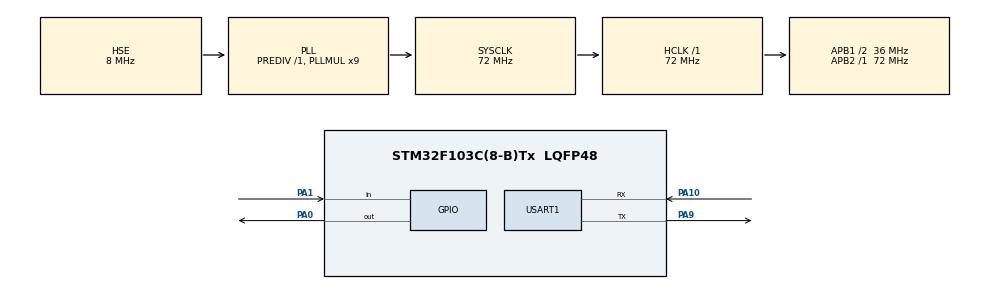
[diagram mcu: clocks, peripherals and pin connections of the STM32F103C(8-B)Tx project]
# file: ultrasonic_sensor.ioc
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Mcu.Family=STM32F1
Mcu.Name=STM32F103C(8-B)Tx
Mcu.Package=LQFP48
NVIC.PriorityGroup=NVIC_PRIORITYGROUP_4
PA0-WKUP.Signal=GPIO_Output
PA1.Signal=GPIO_Input
PA10.Mode=Asynchronous
PA10.Signal=USART1_RX
PA9.Mode=Asynchronous
PA9.Signal=USART1_TX
PD0-OSC_IN.Mode=HSE-External-Oscillator
PD0-OSC_IN.Signal=RCC_OSC_IN
PD1-OSC_OUT.Mode=HSE-External-Oscillator
PD1-OSC_OUT.Signal=RCC_OSC_OUT
ProjectManager.HeapSize=0x200
ProjectManager.StackSize=0x400
ProjectManager.TargetToolchain=STM32CubeIDE
RCC.AHBFreq_Value=72000000
RCC.APB1CLKDivider=RCC_HCLK_DIV2
RCC.APB1Freq_Value=36000000
RCC.APB1TimFreq_Value=72000000
RCC.APB2Freq_Value=72000000
RCC.APB2TimFreq_Value=72000000
RCC.HCLKFreq_Value=72000000
RCC.PLLMUL=RCC_PLL_MUL9
RCC.PLLSourceVirtual=RCC_PLLSOURCE_HSE
RCC.SYSCLKFreq_VALUE=72000000
RCC.SYSCLKSource=RCC_SYSCLKSOURCE_PLLCLK
RCC.USBFreq_Value=72000000
TIM2.Prescaler=71
USART1.VirtualMode=VM_ASYNC
VP_SYS_VS_ND.Mode=No_Debug
VP_TIM2_VS_ClockSourceINT.Mode=Internal
board=custom

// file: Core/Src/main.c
/* USER CODE BEGIN Header */
/**
  ******************************************************************************
  * @file           : main.c
  * @brief          : Main program body
  ******************************************************************************
  * @attention
  *
  * Copyright (c) 2026 STMicroelectronics.
  * All rights reserved.
  *
  * This software is licensed under terms that can be found in the LICENSE file
  * in the root directory of this software component.
  * If no LICENSE file comes with this software, it is provided AS-IS.
  *
  ******************************************************************************
  */
/* USER CODE END Header */
#include "main.h"

//#include "uart.h"
#include <stdio.h>

TIM_HandleTypeDef htim2;

UART_HandleTypeDef huart1;

int __io_putchar(int ch)
{
    HAL_UART_Transmit(&huart1, (uint8_t *)&ch, 1, HAL_MAX_DELAY);
    return ch;
}

TIM_HandleTypeDef htim2;

UART_HandleTypeDef huart1;

/* USER CODE BEGIN PV */

uint32_t distance = 0;
uint32_t time = 0;

void delay_us(uint16_t us)
{
    __HAL_TIM_SET_COUNTER(&htim2, 0);

    while (__HAL_TIM_GET_COUNTER(&htim2) < us);
}

float ultrasonic_read(void)
{
    uint32_t start = 0;
    uint32_t stop = 0;
    uint32_t time = 0;
    float distance = 0;

    HAL_GPIO_WritePin(GPIOA, GPIO_PIN_0, GPIO_PIN_RESET);
    delay_us(2);

    HAL_GPIO_WritePin(GPIOA, GPIO_PIN_0, GPIO_PIN_SET);
    delay_us(10);

    HAL_GPIO_WritePin(GPIOA, GPIO_PIN_0, GPIO_PIN_RESET);

    while(!(HAL_GPIO_ReadPin(GPIOA, GPIO_PIN_1)));

    start = __HAL_TIM_GET_COUNTER(&htim2);

    while(HAL_GPIO_ReadPin(GPIOA, GPIO_PIN_1));

    stop = __HAL_TIM_GET_COUNTER(&htim2);

    time = stop - start;

    distance = (time * 0.0343f) / 2.0f;

    return distance;
}

/* USER CODE END PV */

void SystemClock_Config(void);
static void MX_GPIO_Init(void);
static void MX_TIM2_Init(void);
static void MX_USART1_UART_Init(void);

int main(void)
{

  /* MCU Configuration--------------------------------------------------------*/

  /* Reset of all peripherals, Initializes the Flash interface and the Systick. */
  HAL_Init();

  /* Configure the system clock */
  SystemClock_Config();

  /* Initialize all configured peripherals */
  MX_GPIO_Init();
  MX_TIM2_Init();
  MX_USART1_UART_Init();
  HAL_TIM_Base_Start(&htim2);
  /* Infinite loop */
  /* USER CODE BEGIN WHILE */
  while (1)
  {
	  distance = ultrasonic_read();

	  HAL_Delay(500);
	  printf("Distance = %lu cm\r\n", distance);

    /* USER CODE END WHILE */

  }
}

void SystemClock_Config(void)
{
  RCC_OscInitTypeDef RCC_OscInitStruct = {0};
  RCC_ClkInitTypeDef RCC_ClkInitStruct = {0};

  /** Initializes the RCC Oscillators according to the specified parameters
  * in the RCC_OscInitTypeDef structure.
  */
  RCC_OscInitStruct.OscillatorType = RCC_OSCILLATORTYPE_HSE;
  RCC_OscInitStruct.HSEState = RCC_HSE_ON;
  RCC_OscInitStruct.HSEPredivValue = RCC_HSE_PREDIV_DIV1;
  RCC_OscInitStruct.HSIState = RCC_HSI_ON;
  RCC_OscInitStruct.PLL.PLLState = RCC_PLL_ON;
  RCC_OscInitStruct.PLL.PLLSource = RCC_PLLSOURCE_HSE;
  RCC_OscInitStruct.PLL.PLLMUL = RCC_PLL_MUL9;
  if (HAL_RCC_OscConfig(&RCC_OscInitStruct) != HAL_OK)
  {
    Error_Handler();
  }

  /** Initializes the CPU, AHB and APB buses clocks
  */
  RCC_ClkInitStruct.ClockType = RCC_CLOCKTYPE_HCLK|RCC_CLOCKTYPE_SYSCLK
                              |RCC_CLOCKTYPE_PCLK1|RCC_CLOCKTYPE_PCLK2;
  RCC_ClkInitStruct.SYSCLKSource = RCC_SYSCLKSOURCE_PLLCLK;
  RCC_ClkInitStruct.AHBCLKDivider = RCC_SYSCLK_DIV1;
  RCC_ClkInitStruct.APB1CLKDivider = RCC_HCLK_DIV2;
  RCC_ClkInitStruct.APB2CLKDivider = RCC_HCLK_DIV1;

  if (HAL_RCC_ClockConfig(&RCC_ClkInitStruct, FLASH_LATENCY_2) != HAL_OK)
  {
    Error_Handler();
  }
}

static void MX_TIM2_Init(void)
{

  TIM_ClockConfigTypeDef sClockSourceConfig = {0};
  TIM_MasterConfigTypeDef sMasterConfig = {0};

  htim2.Instance = TIM2;
  htim2.Init.Prescaler = 71;
  htim2.Init.CounterMode = TIM_COUNTERMODE_UP;
  htim2.Init.Period = 65535;
  htim2.Init.ClockDivision = TIM_CLOCKDIVISION_DIV1;
  htim2.Init.AutoReloadPreload = TIM_AUTORELOAD_PRELOAD_DISABLE;
  if (HAL_TIM_Base_Init(&htim2) != HAL_OK)
  {
    Error_Handler();
  }
  sClockSourceConfig.ClockSource = TIM_CLOCKSOURCE_INTERNAL;
  if (HAL_TIM_ConfigClockSource(&htim2, &sClockSourceConfig) != HAL_OK)
  {
    Error_Handler();
  }
  sMasterConfig.MasterOutputTrigger = TIM_TRGO_RESET;
  sMasterConfig.MasterSlaveMode = TIM_MASTERSLAVEMODE_DISABLE;
  if (HAL_TIMEx_MasterConfigSynchronization(&htim2, &sMasterConfig) != HAL_OK)
  {
    Error_Handler();
  }

}

static void MX_USART1_UART_Init(void)
{

  huart1.Instance = USART1;
  huart1.Init.BaudRate = 115200;
  huart1.Init.WordLength = UART_WORDLENGTH_8B;
  huart1.Init.StopBits = UART_STOPBITS_1;
  huart1.Init.Parity = UART_PARITY_NONE;
  huart1.Init.Mode = UART_MODE_TX_RX;
  huart1.Init.HwFlowCtl = UART_HWCONTROL_NONE;
  huart1.Init.OverSampling = UART_OVERSAMPLING_16;
  if (HAL_UART_Init(&huart1) != HAL_OK)
  {
    Error_Handler();
  }

}

static void MX_GPIO_Init(void)
{
  GPIO_InitTypeDef GPIO_InitStruct = {0};

  /* GPIO Ports Clock Enable */
  __HAL_RCC_GPIOD_CLK_ENABLE();
  __HAL_RCC_GPIOA_CLK_ENABLE();

  /*Configure GPIO pin Output Level */
  HAL_GPIO_WritePin(GPIOA, GPIO_PIN_0, GPIO_PIN_RESET);

  /*Configure GPIO pin : PA0 */
  GPIO_InitStruct.Pin = GPIO_PIN_0;
  GPIO_InitStruct.Mode = GPIO_MODE_OUTPUT_PP;
  GPIO_InitStruct.Pull = GPIO_NOPULL;
  GPIO_InitStruct.Speed = GPIO_SPEED_FREQ_LOW;
  HAL_GPIO_Init(GPIOA, &GPIO_InitStruct);

  /*Configure GPIO pin : PA1 */
  GPIO_InitStruct.Pin = GPIO_PIN_1;
  GPIO_InitStruct.Mode = GPIO_MODE_INPUT;
  GPIO_InitStruct.Pull = GPIO_NOPULL;
  HAL_GPIO_Init(GPIOA, &GPIO_InitStruct);

}

void Error_Handler(void)
{
  __disable_irq();
  while (1)
  {
  }
}
